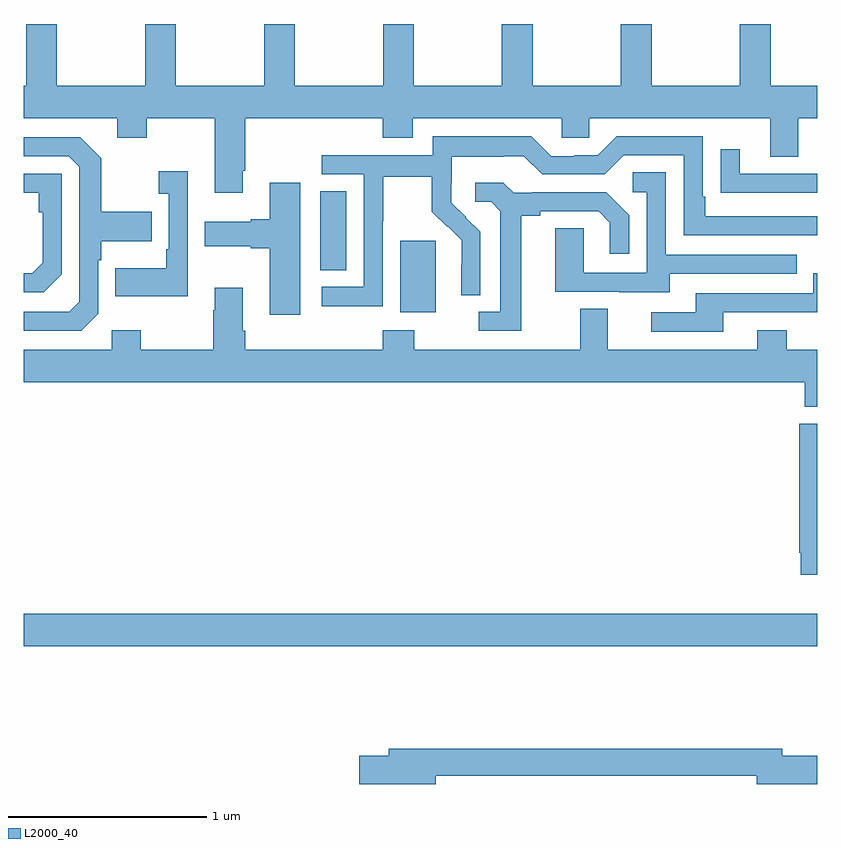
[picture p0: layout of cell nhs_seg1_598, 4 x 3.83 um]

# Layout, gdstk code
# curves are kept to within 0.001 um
import gdstk
lib = gdstk.Library(unit=1e-6, precision=1e-09)
def R(c, l, rs):  # rectangles x0, y0, x1, y1
    for r in rs: c.add(gdstk.rectangle(r[:2], r[2:], *l))
def P(c, l, *ps):  # polygons
    for p in ps: c.add(gdstk.Polygon(p, *l))
L2000_40 = (2000, 40)

nhs_seg1_598 = lib.new_cell('nhs_seg1_598')
R(nhs_seg1_598, L2000_40, [(143,557.06,147,557.224), (144.899,558.746,145.078,559.107), (144.494,558.958,144.625,559.355)])
P(nhs_seg1_598, L2000_40, [(144.103,559.459),(144.116,559.459),(144.116,559.724),(144.809,559.724),(144.809,559.625),(144.961,559.625),(144.961,559.724),(145.713,559.724),(145.713,559.626),(145.851,559.626),(145.851,559.724),(146.765,559.724),(146.765,559.53),(146.905,559.53),(146.905,559.724),(147,559.724),(147,559.888),(146.766,559.888),(146.766,560.199),(146.611,560.199),(146.611,559.888),(146.166,559.888),(146.166,560.199),(146.011,560.199),(146.011,559.888),(145.566,559.888),(145.566,560.199),(145.411,560.199),(145.411,559.888),(144.966,559.888),(144.966,560.199),(144.811,560.199),(144.811,559.888),(144.366,559.888),(144.366,560.199),(144.211,560.199),(144.211,559.888),(143.766,559.888),(143.766,560.199),(143.611,560.199),(143.611,559.888),(143.166,559.888),(143.166,560.199),(143.011,560.199),(143.011,559.888),(143,559.888),(143,559.724),(143.471,559.724),(143.471,559.625),(143.619,559.625),(143.619,559.724),(143.963,559.724),(143.963,559.347),(144.103,559.347)],
  [(144.81,559.204),(144.813,559.204),(144.813,559.428),(145.057,559.428),(145.057,559.253),(145.134,559.176),(145.137,559.179),(145.208,559.109),(145.208,558.986),(145.206,558.986),(145.206,558.832),(145.302,558.832),(145.302,559.15),(145.156,559.298),(145.156,559.395),(145.158,559.395),(145.158,559.529),(145.421,559.529),(145.421,559.533),(145.521,559.533),(145.614,559.44),(145.929,559.44),(146.025,559.536),(146.328,559.536),(146.328,559.134),(147,559.134),(147,559.23),(146.437,559.23),(146.437,559.327),(146.424,559.327),(146.424,559.632),(145.989,559.632),(145.893,559.536),(145.775,559.536),(145.775,559.533),(145.659,559.533),(145.559,559.633),(145.062,559.633),(145.062,559.536),(144.501,559.536),(144.501,559.44),(144.714,559.44),(144.714,558.873),(144.501,558.873),(144.501,558.775),(144.81,558.775)],
  [(143.376,558.738),(143.376,559.007),(143.389,559.007),(143.389,559.103),(143.645,559.103),(143.645,559.251),(143.389,559.251),(143.389,559.523),(143.283,559.629),(143,559.629),(143,559.533),(143.226,559.533),(143.28,559.479),(143.28,558.798),(143.229,558.747),(143,558.747),(143,558.651),(143.289,558.651)],
  [(147,559.443),(146.611,559.443),(146.611,559.567),(146.515,559.567),(146.515,559.348),(146.617,559.348),(146.617,559.347),(147,559.347)],
  [(143.826,559.456),(143.679,559.456),(143.679,559.343),(143.73,559.343),(143.73,559.063),(143.718,559.063),(143.718,558.967),(143.461,558.967),(143.461,558.827),(143.826,558.827)],
  [(146.257,558.939),(146.897,558.939),(146.897,559.035),(146.238,559.035),(146.238,559.451),(146.07,559.451),(146.07,559.35),(146.142,559.35),(146.142,558.945),(145.824,558.945),(145.824,559.169),(145.679,559.169),(145.679,558.849),(146.003,558.849),(146.003,558.845),(146.257,558.845)],
  [(143.19,558.936),(143.19,559.443),(143,559.443),(143,559.347),(143.074,559.347),(143.074,559.25),(143.094,559.25),(143.094,558.996),(143.041,558.943),(143,558.943),(143,558.846),(143.1,558.846)],
  [(144.394,559.399),(144.239,559.399),(144.239,559.214),(144.143,559.214),(144.143,559.201),(143.913,559.201),(143.913,559.079),(144.143,559.079),(144.143,559.067),(144.239,559.067),(144.239,558.732),(144.394,558.732)],
  [(145.507,559.232),(145.603,559.232),(145.603,559.254),(145.898,559.254),(145.955,559.197),(145.955,559.041),(146.052,559.041),(146.052,559.234),(145.936,559.35),(145.564,559.35),(145.564,559.347),(145.47,559.347),(145.418,559.399),(145.275,559.399),(145.275,559.302),(145.356,559.302),(145.403,559.255),(145.403,558.747),(145.293,558.747),(145.293,558.651),(145.507,558.651)],
  [(146.527,558.744),(147,558.744),(147,558.943),(146.982,558.943),(146.982,558.84),(146.387,558.84),(146.387,558.744),(146.163,558.744),(146.163,558.648),(146.527,558.648)],
  [(144.103,558.652),(144.103,558.868),(143.963,558.868),(143.963,558.755),(143.956,558.755),(143.956,558.556),(143.589,558.556),(143.589,558.655),(143.442,558.655),(143.442,558.556),(143,558.556),(143,558.392),(146.939,558.392),(146.939,558.268),(147,558.268),(147,558.556),(146.847,558.556),(146.847,558.655),(146.699,558.655),(146.699,558.556),(145.945,558.556),(145.945,558.764),(145.805,558.764),(145.805,558.556),(144.969,558.556),(144.969,558.655),(144.809,558.655),(144.809,558.556),(144.116,558.556),(144.116,558.652)],
  [(147,558.183),(146.911,558.183),(146.911,557.533),(146.919,557.533),(146.919,557.421),(147,557.421)],
  [(145.078,556.408),(146.696,556.408),(146.696,556.366),(147,556.366),(147,556.508),(146.824,556.508),(146.824,556.544),(144.839,556.544),(144.839,556.508),(144.69,556.508),(144.69,556.366),(145.078,556.366)])

lib.write_gds('nhs_seg1_598.gds')
